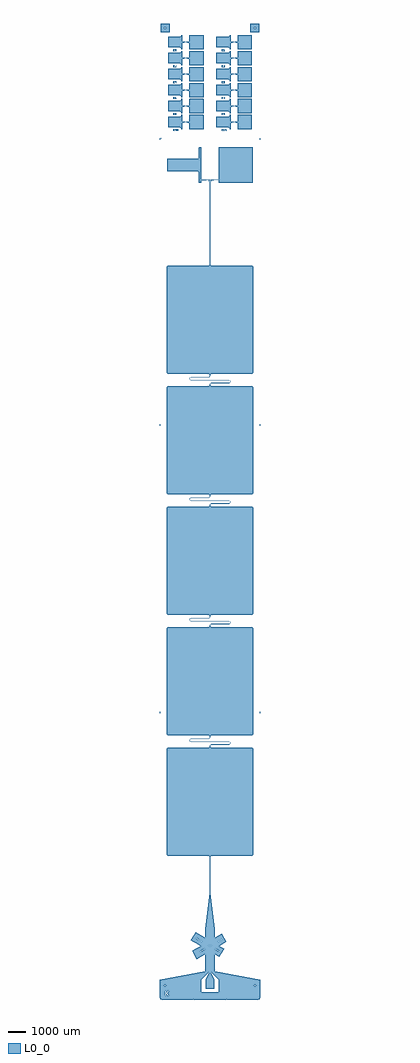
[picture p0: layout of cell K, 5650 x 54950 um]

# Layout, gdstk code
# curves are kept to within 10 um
import gdstk
lib = gdstk.Library(unit=1e-6, precision=1e-09)
def R(c, l, rs):  # rectangles x0, y0, x1, y1
    for r in rs: c.add(gdstk.rectangle(r[:2], r[2:], *l))
def P(c, l, *ps):  # polygons
    for p in ps: c.add(gdstk.Polygon(p, *l))
L0_0 = (0, 0)

c_k = lib.new_cell('K')
R(c_k, L0_0, [(-100,16026.667,-80,16106.667), (5530,16026.667,5550,16106.667), (-100,32193.333,-80,32273.333), (5530,32193.333,5550,32273.333), (1743.333,48380,1823.333,48400), (3626.667,48380,3706.667,48400)])
P(c_k, L0_0, [(2475,500),(2475,1000),(2717.5,1500),(2717.5,2907.328),(2071.442,3280.329),(2078.942,3293.32),(2725,2920.318),(3371.058,3293.32),(2732.5,2933.309),(2732.5,3221.984),(3386.645,3599.655),(3651.645,3140.661),(3255,2911.658),(3514.808,2761.658),(3386.058,2538.657),(2747.5,2907.328),(3378.558,3280.329),(2732.5,2907.328),(2732.5,1500),(2975,1000),(2975,500)],
  [(0,-100),(0,-80),(-80,-80),(-80,0),(-100,0),(-100,400),(350,400),(275,287.5),(275,400),(200,400),(200,100),(275,100),(275,212.5),(350,100),(425,100),(312.5,250),(425,400),(-100,400),(-100,740),(160,740),(160,660),(240,660),(240,740),(-100,740),(-100,1000),(2460,1500),(2460,2452.665),(1977.191,2173.915),(1712.191,2632.908),(2195,2911.658),(1645.357,3228.995),(1910.357,3687.988),(2717.5,3221.984),(2717.5,2933.309),(1934.025,3385.648),(1919.025,3359.668),(2702.5,2907.328),(2063.942,2538.657),(2071.442,2525.666),(2710,2894.338),(2710,1500),(2225,1000),(2225,300),(3225,300),(3225,740),(5210,740),(5210,660),(5290,660),(5290,740),(3225,740),(3225,1000),(2740,1500),(2740,2894.338),(3378.558,2525.666),(3249.808,2302.665),(2990,2452.665),(2990,1500),(5550,1000),(5550,0),(5530,0),(5530,-80),(5450,-80),(5450,-100),(3706.667,-100),(3706.667,-80),(3626.667,-80),(3626.667,-100),(1823.333,-100),(1823.333,-80),(1743.333,-80),(1743.333,-100)],
  [(2717.5,3221.984),(2460,3370.652),(2460,3870.652),(2720.5,5870.652),(2710.452,7943.152),(2683,7970.603),(2645.5,7980.652),(376,7980.652),(338.5,7990.7),(311.048,8018.152),(301,8055.652),(301,14005.652),(311.048,14043.152),(338.5,14070.603),(376,14080.652),(2645.5,14080.652),(2683,14090.7),(2710.452,14118.152),(2731.821,14217.902),(2762.75,14248.831),(2805,14260.152),(3800,14260.152),(3865.385,14297.902),(3865.385,14373.402),(3800,14411.152),(1650,14411.152),(1576.821,14453.402),(1576.821,14537.902),(1650,14580.152),(2682.75,14590.267),(2710.385,14617.902),(2720.5,14691.669),(2710.452,14729.169),(2683,14756.621),(2645.5,14766.669),(376,14766.669),(338.5,14776.717),(311.048,14804.169),(301,20791.669),(311.048,20829.169),(338.5,20856.621),(376,20866.669),(2645.5,20866.669),(2683,20876.717),(2710.452,20904.169),(2731.821,21003.919),(2762.75,21034.848),(2805,21046.169),(3800,21046.169),(3865.385,21083.919),(3865.385,21159.419),(3800,21197.169),(1650,21197.169),(1576.821,21239.419),(1576.821,21323.919),(1650,21366.169),(2682.75,21376.284),(2710.385,21403.919),(2720.5,21477.687),(2710.452,21515.187),(2683,21542.639),(2645.5,21552.687),(376,21552.687),(338.5,21562.735),(311.048,21590.187),(301,27577.687),(311.048,27615.187),(338.5,27642.639),(376,27652.687),(2645.5,27652.687),(2683,27662.735),(2710.452,27690.187),(2731.821,27789.937),(2762.75,27820.866),(2805,27832.187),(3800,27832.187),(3865.385,27869.937),(3865.385,27945.437),(3800,27983.187),(1650,27983.187),(1576.821,28025.437),(1576.821,28109.937),(1650,28152.187),(2682.75,28162.302),(2710.385,28189.937),(2720.5,28263.705),(2710.452,28301.205),(2683,28328.657),(2645.5,28338.705),(376,28338.705),(338.5,28348.753),(311.048,28376.205),(301,34363.705),(311.048,34401.205),(338.5,34428.657),(376,34438.705),(2645.5,34438.705),(2683,34448.753),(2710.452,34476.205),(2731.821,34575.955),(2762.75,34606.884),(2805,34618.205),(3800,34618.205),(3865.385,34655.955),(3865.385,34731.455),(3800,34769.205),(1650,34769.205),(1576.821,34811.455),(1576.821,34895.955),(1650,34938.205),(2682.75,34948.32),(2710.385,34975.955),(2720.5,35049.723),(2710.452,35087.223),(2683,35114.674),(2645.5,35124.723),(376,35124.723),(338.5,35134.771),(311.048,35162.223),(301,41149.723),(311.048,41187.223),(338.5,41214.674),(376,41224.723),(2645.5,41224.723),(2683,41234.771),(2710.452,41262.223),(2720.5,45960.456),(2665.25,45976.166),(2657,46005.456),(2673.5,46021.956),(2776.5,46021.956),(2790.789,46013.706),(2790.789,45982.206),(2729.5,45960.456),(2739.548,41262.223),(2767,41234.771),(2804.5,41224.723),(5074,41224.723),(5111.5,41214.674),(5138.952,41187.223),(5149,41149.723),(5149,35199.723),(5138.952,35162.223),(5111.5,35134.771),(5074,35124.723),(2804.5,35124.723),(2767,35114.674),(2739.548,35087.223),(2718.179,34971.455),(2687.25,34940.526),(2645,34929.205),(1650,34929.205),(1584.615,34891.455),(1584.615,34815.955),(1650,34778.205),(3800,34778.205),(3873.179,34735.955),(3873.179,34651.455),(3800,34609.205),(2767.25,34599.09),(2739.615,34571.455),(2729.5,34513.705),(2739.548,34476.205),(2767,34448.753),(2804.5,34438.705),(5074,34438.705),(5111.5,34428.657),(5138.952,34401.205),(5149,28413.705),(5138.952,28376.205),(5111.5,28348.753),(5074,28338.705),(2804.5,28338.705),(2767,28328.657),(2739.548,28301.205),(2718.179,28185.437),(2687.25,28154.508),(2645,28143.187),(1650,28143.187),(1584.615,28105.437),(1584.615,28029.937),(1650,27992.187),(3800,27992.187),(3873.179,27949.937),(3873.179,27865.437),(3800,27823.187),(2767.25,27813.072),(2739.615,27785.437),(2729.5,27727.687),(2739.548,27690.187),(2767,27662.735),(2804.5,27652.687),(5074,27652.687),(5111.5,27642.639),(5138.952,27615.187),(5149,21627.687),(5138.952,21590.187),(5111.5,21562.735),(5074,21552.687),(2804.5,21552.687),(2767,21542.639),(2739.548,21515.187),(2718.179,21399.419),(2687.25,21368.49),(2645,21357.169),(1650,21357.169),(1584.615,21319.419),(1584.615,21243.919),(1650,21206.169),(3800,21206.169),(3873.179,21163.919),(3873.179,21079.419),(3800,21037.169),(2767.25,21027.054),(2739.615,20999.419),(2729.5,20941.669),(2739.548,20904.169),(2767,20876.717),(2804.5,20866.669),(5074,20866.669),(5111.5,20856.621),(5138.952,20829.169),(5149,14841.669),(5138.952,14804.169),(5111.5,14776.717),(5074,14766.669),(2804.5,14766.669),(2767,14756.621),(2739.548,14729.169),(2718.179,14613.402),(2687.25,14582.472),(2645,14571.152),(1650,14571.152),(1584.615,14533.402),(1584.615,14457.902),(1650,14420.152),(3800,14420.152),(3873.179,14377.902),(3873.179,14293.402),(3800,14251.152),(2767.25,14241.036),(2739.615,14213.402),(2729.5,14155.652),(2739.548,14118.152),(2767,14090.7),(2804.5,14080.652),(5074,14080.652),(5111.5,14070.603),(5138.952,14043.152),(5149,8055.652),(5138.952,8018.152),(5111.5,7990.7),(5074,7980.652),(2804.5,7980.652),(2767,7970.603),(2739.548,7943.152),(2729.5,5870.652),(2990,3870.652),(2990,3370.652),(2732.5,3221.984),(2726.5,14175.652),(2737.017,14214.902),(2765.75,14243.635),(2805,14254.152),(3800,14254.152),(3870.581,14294.902),(3870.581,14376.402),(3800,14417.152),(1650,14417.152),(1582.017,14456.402),(1582.017,14534.902),(1650,14574.152),(2645,14574.152),(2685.75,14585.07),(2715.581,14614.902),(2726.5,14655.652),(2726.5,20961.669),(2737.017,21000.919),(2765.75,21029.652),(2805,21040.169),(3800,21040.169),(3870.581,21080.919),(3870.581,21162.419),(3800,21203.169),(1650,21203.169),(1582.017,21242.419),(1582.017,21320.919),(1650,21360.169),(2645,21360.169),(2685.75,21371.088),(2715.581,21400.919),(2726.5,21441.669),(2726.5,27747.687),(2737.017,27786.937),(2765.75,27815.67),(2805,27826.187),(3800,27826.187),(3870.581,27866.937),(3870.581,27948.437),(3800,27989.187),(1650,27989.187),(1582.017,28028.437),(1582.017,28106.937),(1650,28146.187),(2645,28146.187),(2685.75,28157.106),(2715.581,28186.937),(2726.5,28227.687),(2726.5,34533.705),(2737.017,34572.955),(2765.75,34601.688),(2805,34612.205),(3800,34612.205),(3870.581,34652.955),(3870.581,34734.455),(3800,34775.205),(1650,34775.205),(1582.017,34814.455),(1582.017,34892.955),(1650,34932.205),(2645,34932.205),(2685.75,34943.124),(2715.581,34972.955),(2726.5,35013.705),(2726.5,45960.456),(2734.75,45974.745),(2783.25,45978.764),(2790,46005.456),(2776.5,46018.956),(2661.809,46012.206),(2666.75,45978.764),(2715.25,45974.745),(2723.5,45960.456),(2723.5,35013.705),(2712.983,34974.455),(2684.25,34945.722),(2645,34935.205),(1650,34935.205),(1579.419,34894.455),(1579.419,34812.955),(1650,34772.205),(3800,34772.205),(3867.983,34732.955),(3867.983,34654.455),(3800,34615.205),(2805,34615.205),(2764.25,34604.286),(2734.419,34574.455),(2723.5,34533.705),(2723.5,28227.687),(2712.983,28188.437),(2684.25,28159.704),(2645,28149.187),(1650,28149.187),(1579.419,28108.437),(1579.419,28026.937),(1650,27986.187),(3800,27986.187),(3867.983,27946.937),(3867.983,27868.437),(3800,27829.187),(2805,27829.187),(2764.25,27818.268),(2734.419,27788.437),(2723.5,27747.687),(2723.5,21441.669),(2712.983,21402.419),(2684.25,21373.686),(2645,21363.169),(1650,21363.169),(1579.419,21322.419),(1579.419,21240.919),(1650,21200.169),(3800,21200.169),(3867.983,21160.919),(3867.983,21082.419),(3800,21043.169),(2805,21043.169),(2764.25,21032.25),(2734.419,21002.419),(2723.5,20961.669),(2723.5,14655.652),(2712.983,14616.402),(2684.25,14587.669),(2645,14577.152),(1650,14577.152),(1579.419,14536.402),(1579.419,14454.902),(1650,14414.152),(3800,14414.152),(3867.983,14374.902),(3867.983,14296.402),(3800,14257.152),(2805,14257.152),(2764.25,14246.233),(2734.419,14216.402),(2723.5,14175.652)],
  [(2115,45876),(2105,46426),(2091.603,46476),(2055,46512.603),(2005,46526),(330,46527.34),(326.34,47221),(2005,47226),(2055,47239.397),(2091.603,47276),(2105,47326),(2105,47866),(2220,47874.66),(2225,46069),(2705.5,46050),(2705.5,46028),(2230,46014),(2223.66,45881)],
  [(3235,45876),(3222.5,46013.33),(2744.5,46028),(2744.5,46050),(3225,46069),(3226.34,47871),(5120,47874.66),(5123.66,45881)],
  [(-100,48300),(-100,48400),(0,48400),(0,48380),(-80,48380),(-80,48300)],
  [(5530,48300),(5530,48380),(5450,48380),(5450,48400),(5550,48400),(5550,48300)],
  [(662.5,48800),(662.5,48900),(687.5,48900),(687.5,48862.5),(712.5,48900),(737.5,48900),(700,48850),(737.5,48800),(712.5,48800),(687.5,48837.5),(687.5,48800)],
  [(762.5,48800),(762.5,48812.5),(787.5,48812.5),(787.5,48875),(762.5,48875),(762.5,48887.5),(787.5,48900),(812.5,48900),(812.5,48812.5),(837.5,48812.5),(837.5,48800)],
  [(887.5,48800),(862.5,48812.5),(862.5,48887.5),(887.5,48887.5),(887.5,48818.75),(898.864,48881.25),(912.5,48881.25),(900,48812.5),(912.5,48812.5),(912.5,48881.25),(898.864,48881.25),(900,48887.5),(862.5,48887.5),(887.5,48900),(912.5,48900),(937.5,48887.5),(937.5,48812.5),(912.5,48800)],
  [(3387.5,48800),(3387.5,48900),(3412.5,48900),(3412.5,48862.5),(3437.5,48900),(3462.5,48900),(3425,48850),(3462.5,48800),(3437.5,48800),(3412.5,48837.5),(3412.5,48800)],
  [(3487.5,48800),(3487.5,48812.5),(3512.5,48812.5),(3512.5,48875),(3487.5,48875),(3487.5,48887.5),(3512.5,48900),(3537.5,48900),(3537.5,48812.5),(3562.5,48812.5),(3562.5,48800)],
  [(3587.5,48800),(3587.5,48812.5),(3612.5,48812.5),(3612.5,48875),(3587.5,48875),(3587.5,48887.5),(3612.5,48900),(3637.5,48900),(3637.5,48812.5),(3662.5,48812.5),(3662.5,48800)],
  [(1112.5,48900),(1099.103,48950),(1062.5,48986.603),(1012.5,49000),(367.5,49001.34),(363.84,49595),(1012.5,49600),(1062.5,49613.397),(1099.103,49650),(1112.5,49700),(1157.5,49698.66),(1163.17,49327.5),(1343,49311),(1343,49289),(1163.17,49272.5),(1162.5,48910)],
  [(1572.5,48900),(1561.83,49272.5),(1382,49289),(1382,49311),(1561.83,49327.5),(1563.84,49695),(2357.5,49698.66),(2361.16,48905)],
  [(3837.5,48900),(3824.103,48950),(3787.5,48986.603),(3737.5,49000),(3092.5,49001.34),(3088.84,49595),(3737.5,49600),(3787.5,49613.397),(3824.103,49650),(3837.5,49700),(3882.5,49698.66),(3888.17,49327.5),(4068,49311),(4068,49289),(3888.17,49272.5),(3887.5,48910)],
  [(4297.5,48900),(4286.83,49272.5),(4107,49289),(4107,49311),(4286.83,49327.5),(4288.84,49695),(5082.5,49698.66),(5086.16,48905)],
  [(662.5,49700),(662.5,49800),(687.5,49800),(687.5,49762.5),(712.5,49800),(737.5,49800),(700,49750),(737.5,49700),(712.5,49700),(687.5,49737.5),(687.5,49700)],
  [(762.5,49700),(762.5,49737.5),(787.5,49737.5),(787.5,49712.5),(812.5,49712.5),(812.5,49737.5),(762.5,49737.5),(787.5,49750),(762.5,49762.5),(762.5,49787.5),(787.5,49787.5),(787.5,49762.5),(812.5,49762.5),(812.5,49787.5),(762.5,49787.5),(762.5,49800),(837.5,49800),(837.5,49762.5),(812.5,49750),(837.5,49737.5),(837.5,49700)],
  [(3387.5,49700),(3387.5,49800),(3412.5,49800),(3412.5,49762.5),(3437.5,49800),(3462.5,49800),(3425,49750),(3462.5,49700),(3437.5,49700),(3412.5,49737.5),(3412.5,49700)],
  [(3537.5,49700),(3537.5,49750),(3487.5,49750),(3487.5,49787.5),(3512.5,49787.5),(3512.5,49762.5),(3537.5,49762.5),(3537.5,49787.5),(3487.5,49787.5),(3487.5,49800),(3562.5,49800),(3562.5,49700)],
  [(1112.5,49800),(1099.103,49850),(1062.5,49886.603),(1012.5,49900),(367.5,49901.34),(363.84,50495),(1012.5,50500),(1062.5,50513.397),(1099.103,50550),(1112.5,50600),(1157.5,50598.66),(1163.17,50227.5),(1343,50211),(1343,50189),(1163.17,50172.5),(1162.5,49810)],
  [(1572.5,49800),(1561.83,50172.5),(1382,50189),(1382,50211),(1561.83,50227.5),(1563.84,50595),(2357.5,50598.66),(2361.16,49805)],
  [(3837.5,49800),(3824.103,49850),(3787.5,49886.603),(3737.5,49900),(3092.5,49901.34),(3088.84,50495),(3737.5,50500),(3787.5,50513.397),(3824.103,50550),(3837.5,50600),(3882.5,50598.66),(3888.17,50227.5),(4068,50211),(4068,50189),(3888.17,50172.5),(3887.5,49810)],
  [(4297.5,49800),(4286.83,50172.5),(4107,50189),(4107,50211),(4286.83,50227.5),(4288.84,50595),(5082.5,50598.66),(5086.16,49805)],
  [(662.5,50600),(662.5,50700),(687.5,50700),(687.5,50662.5),(712.5,50700),(737.5,50700),(700,50650),(737.5,50600),(712.5,50600),(687.5,50637.5),(687.5,50600)],
  [(762.5,50600),(762.5,50637.5),(787.5,50637.5),(787.5,50612.5),(812.5,50612.5),(812.5,50637.5),(762.5,50637.5),(762.5,50700),(787.5,50700),(787.5,50650),(837.5,50650),(837.5,50600)],
  [(3387.5,50600),(3387.5,50700),(3412.5,50700),(3412.5,50662.5),(3437.5,50700),(3462.5,50700),(3425,50650),(3462.5,50600),(3437.5,50600),(3412.5,50637.5),(3412.5,50600)],
  [(3537.5,50600),(3537.5,50687.5),(3487.5,50687.5),(3487.5,50700),(3562.5,50700),(3562.5,50600)],
  [(1112.5,50700),(1099.103,50750),(1062.5,50786.603),(1012.5,50800),(367.5,50801.34),(363.84,51395),(1012.5,51400),(1062.5,51413.397),(1099.103,51450),(1112.5,51500),(1157.5,51498.66),(1163.17,51127.5),(1343,51111),(1343,51089),(1163.17,51072.5),(1162.5,50710)],
  [(1572.5,50700),(1561.83,51072.5),(1382,51089),(1382,51111),(1561.83,51127.5),(1563.84,51495),(2357.5,51498.66),(2361.16,50705)],
  [(3837.5,50700),(3824.103,50750),(3787.5,50786.603),(3737.5,50800),(3092.5,50801.34),(3088.84,51395),(3737.5,51400),(3787.5,51413.397),(3824.103,51450),(3837.5,51500),(3882.5,51498.66),(3888.17,51127.5),(4068,51111),(4068,51089),(3888.17,51072.5),(3887.5,50710)],
  [(4297.5,50700),(4286.83,51072.5),(4107,51089),(4107,51111),(4286.83,51127.5),(4288.84,51495),(5082.5,51498.66),(5086.16,50705)],
  [(662.5,51500),(662.5,51600),(687.5,51600),(687.5,51562.5),(712.5,51600),(737.5,51600),(700,51550),(737.5,51500),(712.5,51500),(687.5,51537.5),(687.5,51500)],
  [(812.5,51500),(812.5,51550),(762.5,51550),(762.5,51600),(787.5,51600),(787.5,51562.5),(812.5,51562.5),(812.5,51600),(837.5,51600),(837.5,51500)],
  [(3387.5,51500),(3387.5,51600),(3412.5,51600),(3412.5,51562.5),(3437.5,51600),(3462.5,51600),(3425,51550),(3462.5,51500),(3437.5,51500),(3412.5,51537.5),(3412.5,51500)],
  [(3487.5,51500),(3487.5,51512.5),(3537.5,51512.5),(3537.5,51550),(3487.5,51550),(3487.5,51600),(3562.5,51600),(3562.5,51587.5),(3512.5,51587.5),(3512.5,51562.5),(3562.5,51562.5),(3562.5,51500)],
  [(1112.5,51600),(1099.103,51650),(1062.5,51686.603),(1012.5,51700),(367.5,51701.34),(363.84,52295),(1012.5,52300),(1062.5,52313.397),(1099.103,52350),(1112.5,52400),(1157.5,52398.66),(1163.17,52027.5),(1343,52011),(1343,51989),(1163.17,51972.5),(1162.5,51610)],
  [(1572.5,51600),(1561.83,51972.5),(1382,51989),(1382,52011),(1561.83,52027.5),(1563.84,52395),(2357.5,52398.66),(2361.16,51605)],
  [(3837.5,51600),(3824.103,51650),(3787.5,51686.603),(3737.5,51700),(3092.5,51701.34),(3088.84,52295),(3737.5,52300),(3787.5,52313.397),(3824.103,52350),(3837.5,52400),(3882.5,52398.66),(3888.17,52027.5),(4068,52011),(4068,51989),(3888.17,51972.5),(3887.5,51610)],
  [(4297.5,51600),(4286.83,51972.5),(4107,51989),(4107,52011),(4286.83,52027.5),(4288.84,52395),(5082.5,52398.66),(5086.16,51605)],
  [(662.5,52400),(662.5,52500),(687.5,52500),(687.5,52462.5),(712.5,52500),(737.5,52500),(700,52450),(737.5,52400),(712.5,52400),(687.5,52437.5),(687.5,52400)],
  [(762.5,52400),(762.5,52425),(812.5,52475),(812.5,52487.5),(762.5,52487.5),(762.5,52500),(837.5,52500),(837.5,52475),(787.5,52425),(787.5,52412.5),(837.5,52412.5),(837.5,52400)],
  [(3387.5,52400),(3387.5,52500),(3412.5,52500),(3412.5,52462.5),(3437.5,52500),(3462.5,52500),(3425,52450),(3462.5,52400),(3437.5,52400),(3412.5,52437.5),(3412.5,52400)],
  [(3487.5,52400),(3487.5,52412.5),(3537.5,52412.5),(3537.5,52443.75),(3512.5,52443.75),(3512.5,52456.25),(3537.5,52456.25),(3537.5,52487.5),(3487.5,52487.5),(3487.5,52500),(3562.5,52500),(3562.5,52400)],
  [(1112.5,52500),(1099.103,52550),(1062.5,52586.603),(1012.5,52600),(367.5,52601.34),(363.84,53195),(1012.5,53200),(1062.5,53213.397),(1099.103,53250),(1112.5,53300),(1157.5,53298.66),(1163.17,52927.5),(1343,52911),(1343,52889),(1163.17,52872.5),(1162.5,52510)],
  [(1572.5,52500),(1561.83,52872.5),(1382,52889),(1382,52911),(1561.83,52927.5),(1563.84,53295),(2357.5,53298.66),(2361.16,52505)],
  [(3837.5,52500),(3824.103,52550),(3787.5,52586.603),(3737.5,52600),(3092.5,52601.34),(3088.84,53195),(3737.5,53200),(3787.5,53213.397),(3824.103,53250),(3837.5,53300),(3882.5,53298.66),(3888.17,52927.5),(4068,52911),(4068,52889),(3888.17,52872.5),(3887.5,52510)],
  [(4297.5,52500),(4286.83,52872.5),(4107,52889),(4107,52911),(4286.83,52927.5),(4288.84,53295),(5082.5,53298.66),(5086.16,52505)],
  [(662.5,53300),(662.5,53400),(687.5,53400),(687.5,53362.5),(712.5,53400),(737.5,53400),(700,53350),(737.5,53300),(712.5,53300),(687.5,53337.5),(687.5,53300)],
  [(787.5,53300),(762.5,53312.5),(762.5,53387.5),(787.5,53387.5),(787.5,53318.75),(798.864,53381.25),(812.5,53381.25),(800,53312.5),(812.5,53312.5),(812.5,53381.25),(798.864,53381.25),(800,53387.5),(762.5,53387.5),(787.5,53400),(812.5,53400),(837.5,53387.5),(837.5,53312.5),(812.5,53300)],
  [(3387.5,53300),(3387.5,53400),(3412.5,53400),(3412.5,53362.5),(3437.5,53400),(3462.5,53400),(3425,53350),(3462.5,53300),(3437.5,53300),(3412.5,53337.5),(3412.5,53300)],
  [(3487.5,53300),(3487.5,53312.5),(3512.5,53312.5),(3512.5,53375),(3487.5,53375),(3487.5,53387.5),(3512.5,53400),(3537.5,53400),(3537.5,53312.5),(3562.5,53312.5),(3562.5,53300)],
  [(1112.5,53400),(1099.103,53450),(1062.5,53486.603),(1012.5,53500),(367.5,53501.34),(363.84,54095),(1012.5,54100),(1062.5,54113.397),(1099.103,54150),(1112.5,54200),(1157.5,54198.66),(1163.17,53827.5),(1343,53811),(1343,53789),(1163.17,53772.5),(1162.5,53410)],
  [(1572.5,53400),(1561.83,53772.5),(1382,53789),(1382,53811),(1561.83,53827.5),(1563.84,54195),(2357.5,54198.66),(2361.16,53405)],
  [(3837.5,53400),(3824.103,53450),(3787.5,53486.603),(3737.5,53500),(3092.5,53501.34),(3088.84,54095),(3737.5,54100),(3787.5,54113.397),(3824.103,54150),(3837.5,54200),(3882.5,54198.66),(3888.17,53827.5),(4068,53811),(4068,53789),(3888.17,53772.5),(3887.5,53410)],
  [(4297.5,53400),(4286.83,53772.5),(4107,53789),(4107,53811),(4286.83,53827.5),(4288.84,54195),(5082.5,54198.66),(5086.16,53405)],
  [(-50,54350),(-50,54640),(160,54640),(160,54560),(240,54560),(240,54640),(-50,54640),(-50,54850),(450,54850),(450,54350)],
  [(5000,54350),(5000,54640),(5210,54640),(5210,54560),(5290,54560),(5290,54640),(5000,54640),(5000,54850),(5500,54850),(5500,54350)])
c_k.add(gdstk.FlexPath([(2725,2920.318),(2725,2920.318)], 0, ends="flush", simple_path=True, layer=0, datatype=0))  # L0_0
c_k.add(gdstk.FlexPath([(2702.5,2907.328),(2702.5,2907.328)], 0, ends="flush", simple_path=True, layer=0, datatype=0))  # L0_0
c_k.add(gdstk.FlexPath([(2732.5,2933.309),(2732.5,2933.309)], 0, ends="flush", simple_path=True, layer=0, datatype=0))  # L0_0
c_k.add(gdstk.FlexPath([(2747.5,2907.328),(2747.5,2907.328)], 0, ends="flush", simple_path=True, layer=0, datatype=0))  # L0_0
c_k.add(gdstk.FlexPath([(2460,2750),(2460,2750)], 0, ends="flush", simple_path=True, layer=0, datatype=0))  # L0_0
c_k.add(gdstk.FlexPath([(2732.5,3221.984),(2732.5,3221.984)], 0, ends="flush", simple_path=True, layer=0, datatype=0))  # L0_0
c_k.add(gdstk.FlexPath([(5074,28413.705),(5074,28413.705)], 0, ends="flush", simple_path=True, layer=0, datatype=0))  # L0_0
c_k.add(gdstk.FlexPath([(5074,34363.705),(5074,34363.705)], 0, ends="flush", simple_path=True, layer=0, datatype=0))  # L0_0
c_k.add(gdstk.FlexPath([(2645.5,35049.723),(2645.5,35049.723)], 0, ends="flush", simple_path=True, layer=0, datatype=0))  # L0_0
c_k.add(gdstk.FlexPath([(2804.5,41299.723),(2804.5,41299.723)], 0, ends="flush", simple_path=True, layer=0, datatype=0))  # L0_0
c_k.add(gdstk.FlexPath([(3487.5,53300),(3487.5,53300)], 0, ends="flush", simple_path=True, layer=0, datatype=0))  # L0_0
c_k.add(gdstk.FlexPath([(1477,52916),(1477,52916)], 0, ends="flush", simple_path=True, layer=0, datatype=0))  # L0_0
c_k.add(gdstk.FlexPath([(762.5,52400),(762.5,52400)], 0, ends="flush", simple_path=True, layer=0, datatype=0))  # L0_0
c_k.add(gdstk.FlexPath([(4282.5,52870),(4282.5,52870)], 0, ends="flush", simple_path=True, layer=0, datatype=0))  # L0_0
c_k.add(gdstk.FlexPath([(3387.5,52400),(3387.5,52400)], 0, ends="flush", simple_path=True, layer=0, datatype=0))  # L0_0
c_k.add(gdstk.FlexPath([(3487.5,52400),(3487.5,52400)], 0, ends="flush", simple_path=True, layer=0, datatype=0))  # L0_0
c_k.add(gdstk.FlexPath([(1122.5,51610),(1122.5,51610)], 0, ends="flush", simple_path=True, layer=0, datatype=0))  # L0_0
c_k.add(gdstk.FlexPath([(662.5,51500),(662.5,51500)], 0, ends="flush", simple_path=True, layer=0, datatype=0))  # L0_0
c_k.add(gdstk.FlexPath([(3892.5,52030),(3892.5,52030)], 0, ends="flush", simple_path=True, layer=0, datatype=0))  # L0_0
c_k.add(gdstk.FlexPath([(4282.5,52030),(4282.5,52030)], 0, ends="flush", simple_path=True, layer=0, datatype=0))  # L0_0
c_k.add(gdstk.FlexPath([(3387.5,51500),(3387.5,51500)], 0, ends="flush", simple_path=True, layer=0, datatype=0))  # L0_0
c_k.add(gdstk.FlexPath([(3487.5,51500),(3487.5,51500)], 0, ends="flush", simple_path=True, layer=0, datatype=0))  # L0_0
c_k.add(gdstk.FlexPath([(1477,51084),(1477,51084)], 0, ends="flush", simple_path=True, layer=0, datatype=0))  # L0_0
c_k.add(gdstk.FlexPath([(1122.5,50710),(1122.5,50710)], 0, ends="flush", simple_path=True, layer=0, datatype=0))  # L0_0
c_k.add(gdstk.FlexPath([(662.5,50600),(662.5,50600)], 0, ends="flush", simple_path=True, layer=0, datatype=0))  # L0_0
c_k.add(gdstk.FlexPath([(3387.5,50600),(3387.5,50600)], 0, ends="flush", simple_path=True, layer=0, datatype=0))  # L0_0
c_k.add(gdstk.FlexPath([(3537.5,50600),(3537.5,50600)], 0, ends="flush", simple_path=True, layer=0, datatype=0))  # L0_0
c_k.add(gdstk.FlexPath([(662.5,49700),(662.5,49700)], 0, ends="flush", simple_path=True, layer=0, datatype=0))  # L0_0
c_k.add(gdstk.FlexPath([(3387.5,49700),(3387.5,49700)], 0, ends="flush", simple_path=True, layer=0, datatype=0))  # L0_0
c_k.add(gdstk.FlexPath([(1122.5,48910),(1122.5,48910)], 0, ends="flush", simple_path=True, layer=0, datatype=0))  # L0_0
c_k.add(gdstk.FlexPath([(662.5,48800),(662.5,48800)], 0, ends="flush", simple_path=True, layer=0, datatype=0))  # L0_0
c_k.add(gdstk.FlexPath([(3892.5,49270),(3892.5,49270)], 0, ends="flush", simple_path=True, layer=0, datatype=0))  # L0_0
c_k.add(gdstk.FlexPath([(4297.5,48910),(4297.5,48910)], 0, ends="flush", simple_path=True, layer=0, datatype=0))  # L0_0
c_k.add(gdstk.FlexPath([(3387.5,48800),(3387.5,48800)], 0, ends="flush", simple_path=True, layer=0, datatype=0))  # L0_0
c_k.add(gdstk.FlexPath([(3587.5,48800),(3587.5,48800)], 0, ends="flush", simple_path=True, layer=0, datatype=0))  # L0_0
c_k.add(gdstk.FlexPath([(200,100),(200,100)], 0, ends="flush", simple_path=True, layer=0, datatype=0))  # L0_0

lib.write_gds('K.gds')
